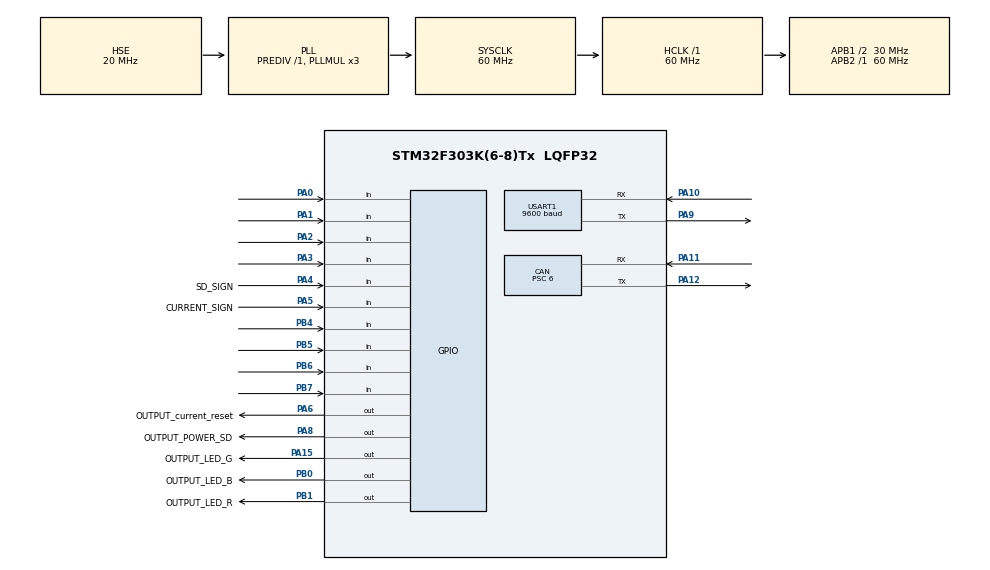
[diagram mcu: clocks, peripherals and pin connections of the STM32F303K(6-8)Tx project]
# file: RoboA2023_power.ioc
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CAN.BS1=CAN_BS1_6TQ
CAN.BS2=CAN_BS2_3TQ
CAN.CalculateBaudRate=500000
CAN.CalculateTimeBit=2000
CAN.CalculateTimeQuantum=200.0
CAN.Prescaler=6
CAN.SJW=CAN_SJW_1TQ
Mcu.Family=STM32F3
Mcu.Name=STM32F303K(6-8)Tx
Mcu.Package=LQFP32
NVIC.CAN_RX0_IRQn=true\:0\:0\:false\:false\:true\:true\:true\:true
NVIC.PriorityGroup=NVIC_PRIORITYGROUP_4
PA0.Signal=GPIO_Input
PA1.Signal=GPIO_Input
PA10.Mode=Asynchronous
PA10.Signal=USART1_RX
PA11.Mode=CAN_Activate
PA11.Signal=CAN_RX
PA12.Mode=CAN_Activate
PA12.Signal=CAN_TX
PA15.GPIO_Label=OUTPUT_LED_G
PA15.Signal=GPIO_Output
PA2.Signal=GPIO_Input
PA3.Signal=GPIO_Input
PA4.GPIO_Label=SD_SIGN
PA4.Signal=GPIO_Input
PA5.GPIO_Label=CURRENT_SIGN
PA5.Signal=GPIO_Input
PA6.GPIO_Label=OUTPUT_current_reset
PA6.Signal=GPIO_Output
PA8.GPIO_Label=OUTPUT_POWER_SD
PA8.Signal=GPIO_Output
PA9.Mode=Asynchronous
PA9.Signal=USART1_TX
PB0.GPIO_Label=OUTPUT_LED_B
PB0.Signal=GPIO_Output
PB1.GPIO_Label=OUTPUT_LED_R
PB1.Signal=GPIO_Output
PB4.Signal=GPIO_Input
PB5.Signal=GPIO_Input
PB6.Signal=GPIO_Input
PB7.Signal=GPIO_Input
PF0\ /\ OSC_IN.Mode=HSE-External-Oscillator
PF0\ /\ OSC_IN.Signal=RCC_OSC_IN
PF1\ /\ OSC_OUT.Mode=HSE-External-Oscillator
PF1\ /\ OSC_OUT.Signal=RCC_OSC_OUT
ProjectManager.HeapSize=0x200
ProjectManager.StackSize=0x400
ProjectManager.TargetToolchain=STM32CubeIDE
RCC.AHBFreq_Value=60000000
RCC.APB1CLKDivider=RCC_HCLK_DIV2
RCC.APB1Freq_Value=30000000
RCC.APB1TimFreq_Value=60000000
RCC.APB2Freq_Value=60000000
RCC.APB2TimFreq_Value=60000000
RCC.CortexFreq_Value=60000000
RCC.HCLKFreq_Value=60000000
RCC.HSE_VALUE=20000000
RCC.HSI_VALUE=8000000
RCC.PLLMUL=RCC_PLL_MUL3
RCC.PLLSourceVirtual=RCC_PLLSOURCE_HSE
RCC.SYSCLKFreq_VALUE=60000000
RCC.SYSCLKSourceVirtual=RCC_SYSCLKSOURCE_PLLCLK
USART1.BaudRate=9600
USART1.VirtualMode-Asynchronous=VM_ASYNC
board=custom

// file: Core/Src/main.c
/* USER CODE BEGIN Header */
/* USER CODE END Header */
#include "main.h"

/* USER CODE BEGIN Includes */
#include "LED.h"
#include "power_ctrl.h"
#include <stdio.h>
/* USER CODE END Includes */

/* USER CODE BEGIN PTD */

typedef void (*void_void_func)(void);
typedef float (*float_void_func)(void);
typedef uint32_t (*uint32_void_func)(void);

/* USER CODE END PTD */

/* USER CODE BEGIN PD */
#define BATT_VOLTGE_PIN GPIOA,GPIO_PIN_0
#define OUTPUT_VOLTGE_PIN GPIOA,GPIO_PIN_1
#define OUTPUT_CURRENT_PIN GPIOA,GPIO_PIN_2
#define CELL_CONFIG_PIN GPIOA,GPIO_PIN_3
#define SD_SIGN_PIN GPIOA,GPIO_PIN_4
#define CURRENT_SIGN_PIN GPIOA,GPIO_PIN_5
#define CURRENT_RESET_PIN GPIOA,GPIO_PIN_6
#define DISCHARGE_PIN GPIOA,GPIO_PIN_7
#define POWER_SD_PIN GPIOA,GPIO_PIN_8
#define LED_G_PIN GPIOA,GPIO_PIN_15
#define LED_B_PIN GPIOB,GPIO_PIN_0
#define LED_R_PIN GPIOB,GPIO_PIN_1

/* USER CODE END PD */

CAN_HandleTypeDef hcan;

UART_HandleTypeDef huart1;

/* USER CODE BEGIN PV */

void_void_func power_func[] = { POWER_OFF, POWER_ON, CURRENT_RESET }; //関数ポインタを配列に入れる。改造したいけどよくわからなかったら、switch()に改修するので教えて。
uint8_t SW_state = 0; //自基板の停止ボタンの状態を記憶する変数

//CAN受信がらみ
uint32_t id;
uint32_t dlc;
uint8_t data[8];

//ADC
uint8_t ADC_buf[4] = { 0, 0, 0, 0 }; //PA0,1,2,3

//リレーの状態
enum {
	POWER_OUTPUT_HIGH, POWER_OUTPUT_LOW
};

//自基板の停止ボタンの状態
enum {
	REMOTE_OFF, SW_OFF, ALL_ON
};
/* USER CODE END PV */

void SystemClock_Config(void);
static void MX_GPIO_Init(void);
static void MX_USART1_UART_Init(void);
static void MX_CAN_Init(void);
/* USER CODE BEGIN PFP */
uint32_t CAN_write(uint32_t StdID, uint32_t RTR, uint32_t DLC, uint8_t Data[]); //CAN送信をする関数
/* USER CODE END PFP */

int main(void)
{

  /* MCU Configuration--------------------------------------------------------*/

  /* Reset of all peripherals, Initializes the Flash interface and the Systick. */
  HAL_Init();

  /* Configure the system clock */
  SystemClock_Config();

  /* Initialize all configured peripherals */
  MX_GPIO_Init();
  MX_USART1_UART_Init();
  MX_CAN_Init();
  /* USER CODE BEGIN 2 */

	uint32_t fId1 = 0x000 << 21;
	// フィルターID1
	uint32_t fId2 = 0x001 << 21;  // フィルターID2

	CAN_FilterTypeDef filter;
	filter.FilterIdHigh = 0;            // フィルターID1の上位16ビット
	filter.FilterIdLow = 0;                  // フィルターID1の下位16ビット
	filter.FilterMaskIdHigh = 0;            // フィルターID2の上位16ビット
	filter.FilterMaskIdLow = 0;                  // フィルターID2の下位16ビット
	filter.FilterScale = CAN_FILTERSCALE_32BIT; // フィルタースケール
	filter.FilterFIFOAssignment = CAN_FILTER_FIFO0; // フィルターに割り当てるFIFO
	filter.FilterBank = 0; // フィルターバンクNo
	filter.FilterMode = CAN_FILTERMODE_IDMASK; //フィルターモード
	filter.SlaveStartFilterBank = 14; //スレーブCANの開始フィルターバンクNo
	filter.FilterActivation = ENABLE; //フィルター無効／有効
	HAL_CAN_ConfigFilter(&hcan, &filter); //設定を確定
	HAL_CAN_Start(&hcan); //CAN開始
	HAL_CAN_ActivateNotification(&hcan, CAN_IT_RX_FIFO0_MSG_PENDING); //受信割り込みを開始

	HAL_GPIO_WritePin(GPIOA, GPIO_PIN_6, SET); //過電流検知リセット
	POWER_ON();

  /* USER CODE END 2 */

  /* Infinite loop */
  /* USER CODE BEGIN WHILE */
	while (1) {

		if (HAL_GPIO_ReadPin(SD_SIGN_PIN) == 0) {        //リレーがOFFしたとき
			if (GET_GPIO_STATE(POWER_SD_PIN) == 1) { //自分の遠隔停止がONなら相手のリレーをOFFする(こちらのSWがOFFされた)
				if (SW_state != SW_OFF) {      //まだ相手に停止指令を送っていなければ送る
					uint8_t data[] = { POWER_OUTPUT_LOW };
					CAN_write(0x000, CAN_RTR_DATA, 0x1, data);
					SET_LED_R();

				}
				SW_state = SW_OFF;
			} else {        //遠隔停止がOFFなら相手の遠隔停止によって停止(何も送らずに待機)
				SW_state = REMOTE_OFF;
				SET_LED_Y();
			}
		} else {
			//リレーがONのとき
			if (SW_state != ALL_ON) {    //自分の停止SWが解除されたのとき、まだ相手にON指令を送っていなければ送る
				uint8_t data[] = { POWER_OUTPUT_HIGH };
				CAN_write(0x000, CAN_RTR_DATA, 0x1, data);
			}
			SW_state = ALL_ON;
			SET_LED_B();

		}

		/*ADCデバッグ用。消しても問題なし*/
		/*
		 char buf[] = { 0, 0, 0, 0, 0, 0, 0, 0, 0, 0, 0, 0, 0, 0, 0, 0, 0, 0, 0,
		 0 };
		 snprintf(buf, sizeof(buf), "%3d", (int) (ADC_buf[2]));
		 HAL_UART_Transmit(&huart1, (uint8_t*) buf, sizeof(buf), 1000);
		 char mozi[] = "\r\n";
		 HAL_UART_Transmit(&huart1, (uint8_t*) mozi, sizeof(mozi), 1000);
		 */

		char SW_str[20];
		if (SW_state == SW_OFF) {
			snprintf(SW_str, sizeof("SW_OFF"), "%s", "SW_OFF");
			HAL_UART_Transmit(&huart1, (uint8_t*) SW_str, sizeof("SW_OFF"),
					100);
		} else if (SW_state == REMOTE_OFF) {
			snprintf(SW_str, sizeof("REMOTE_OFF"), "%s", "REMOTE_OFF");
			HAL_UART_Transmit(&huart1, (uint8_t*) SW_str, sizeof("REMOTE_OFF"),
					100);
		} else if (SW_state == ALL_ON) {
			snprintf(SW_str, sizeof("ALL_ON") + 1, "%s", "ALL_ON");
			HAL_UART_Transmit(&huart1, (uint8_t*) SW_str, sizeof("ALL_ON"),
					100);
		}
		char mozi[] = "\r\n";
		HAL_UART_Transmit(&huart1, (uint8_t*) mozi, sizeof(mozi), 1000);

    /* USER CODE END WHILE */

	}
}

void SystemClock_Config(void)
{
  RCC_OscInitTypeDef RCC_OscInitStruct = {0};
  RCC_ClkInitTypeDef RCC_ClkInitStruct = {0};
  RCC_PeriphCLKInitTypeDef PeriphClkInit = {0};

  /** Initializes the RCC Oscillators according to the specified parameters
  * in the RCC_OscInitTypeDef structure.
  */
  RCC_OscInitStruct.OscillatorType = RCC_OSCILLATORTYPE_HSE;
  RCC_OscInitStruct.HSEState = RCC_HSE_ON;
  RCC_OscInitStruct.HSEPredivValue = RCC_HSE_PREDIV_DIV1;
  RCC_OscInitStruct.HSIState = RCC_HSI_ON;
  RCC_OscInitStruct.PLL.PLLState = RCC_PLL_ON;
  RCC_OscInitStruct.PLL.PLLSource = RCC_PLLSOURCE_HSE;
  RCC_OscInitStruct.PLL.PLLMUL = RCC_PLL_MUL3;
  if (HAL_RCC_OscConfig(&RCC_OscInitStruct) != HAL_OK)
  {
    Error_Handler();
  }

  /** Initializes the CPU, AHB and APB buses clocks
  */
  RCC_ClkInitStruct.ClockType = RCC_CLOCKTYPE_HCLK|RCC_CLOCKTYPE_SYSCLK
                              |RCC_CLOCKTYPE_PCLK1|RCC_CLOCKTYPE_PCLK2;
  RCC_ClkInitStruct.SYSCLKSource = RCC_SYSCLKSOURCE_PLLCLK;
  RCC_ClkInitStruct.AHBCLKDivider = RCC_SYSCLK_DIV1;
  RCC_ClkInitStruct.APB1CLKDivider = RCC_HCLK_DIV2;
  RCC_ClkInitStruct.APB2CLKDivider = RCC_HCLK_DIV1;

  if (HAL_RCC_ClockConfig(&RCC_ClkInitStruct, FLASH_LATENCY_2) != HAL_OK)
  {
    Error_Handler();
  }
  PeriphClkInit.PeriphClockSelection = RCC_PERIPHCLK_USART1;
  PeriphClkInit.Usart1ClockSelection = RCC_USART1CLKSOURCE_PCLK1;
  if (HAL_RCCEx_PeriphCLKConfig(&PeriphClkInit) != HAL_OK)
  {
    Error_Handler();
  }
}

static void MX_CAN_Init(void)
{

  hcan.Instance = CAN;
  hcan.Init.Prescaler = 6;
  hcan.Init.Mode = CAN_MODE_NORMAL;
  hcan.Init.SyncJumpWidth = CAN_SJW_1TQ;
  hcan.Init.TimeSeg1 = CAN_BS1_6TQ;
  hcan.Init.TimeSeg2 = CAN_BS2_3TQ;
  hcan.Init.TimeTriggeredMode = DISABLE;
  hcan.Init.AutoBusOff = DISABLE;
  hcan.Init.AutoWakeUp = DISABLE;
  hcan.Init.AutoRetransmission = DISABLE;
  hcan.Init.ReceiveFifoLocked = DISABLE;
  hcan.Init.TransmitFifoPriority = DISABLE;
  if (HAL_CAN_Init(&hcan) != HAL_OK)
  {
    Error_Handler();
  }

}

static void MX_USART1_UART_Init(void)
{

  huart1.Instance = USART1;
  huart1.Init.BaudRate = 9600;
  huart1.Init.WordLength = UART_WORDLENGTH_8B;
  huart1.Init.StopBits = UART_STOPBITS_1;
  huart1.Init.Parity = UART_PARITY_NONE;
  huart1.Init.Mode = UART_MODE_TX_RX;
  huart1.Init.HwFlowCtl = UART_HWCONTROL_NONE;
  huart1.Init.OverSampling = UART_OVERSAMPLING_16;
  huart1.Init.OneBitSampling = UART_ONE_BIT_SAMPLE_DISABLE;
  huart1.AdvancedInit.AdvFeatureInit = UART_ADVFEATURE_NO_INIT;
  if (HAL_UART_Init(&huart1) != HAL_OK)
  {
    Error_Handler();
  }

}

static void MX_GPIO_Init(void)
{
  GPIO_InitTypeDef GPIO_InitStruct = {0};

  /* GPIO Ports Clock Enable */
  __HAL_RCC_GPIOF_CLK_ENABLE();
  __HAL_RCC_GPIOA_CLK_ENABLE();
  __HAL_RCC_GPIOB_CLK_ENABLE();

  /*Configure GPIO pin Output Level */
  HAL_GPIO_WritePin(GPIOA, OUTPUT_current_reset_Pin|OUTPUT_POWER_SD_Pin|OUTPUT_LED_G_Pin, GPIO_PIN_RESET);

  /*Configure GPIO pin Output Level */
  HAL_GPIO_WritePin(GPIOB, OUTPUT_LED_B_Pin|OUTPUT_LED_R_Pin, GPIO_PIN_RESET);

  /*Configure GPIO pins : PA0 PA1 PA2 PA3
                           SD_SIGN_Pin CURRENT_SIGN_Pin */
  GPIO_InitStruct.Pin = GPIO_PIN_0|GPIO_PIN_1|GPIO_PIN_2|GPIO_PIN_3
                          |SD_SIGN_Pin|CURRENT_SIGN_Pin;
  GPIO_InitStruct.Mode = GPIO_MODE_INPUT;
  GPIO_InitStruct.Pull = GPIO_NOPULL;
  HAL_GPIO_Init(GPIOA, &GPIO_InitStruct);

  /*Configure GPIO pins : OUTPUT_current_reset_Pin OUTPUT_POWER_SD_Pin OUTPUT_LED_G_Pin */
  GPIO_InitStruct.Pin = OUTPUT_current_reset_Pin|OUTPUT_POWER_SD_Pin|OUTPUT_LED_G_Pin;
  GPIO_InitStruct.Mode = GPIO_MODE_OUTPUT_PP;
  GPIO_InitStruct.Pull = GPIO_NOPULL;
  GPIO_InitStruct.Speed = GPIO_SPEED_FREQ_LOW;
  HAL_GPIO_Init(GPIOA, &GPIO_InitStruct);

  /*Configure GPIO pins : OUTPUT_LED_B_Pin OUTPUT_LED_R_Pin */
  GPIO_InitStruct.Pin = OUTPUT_LED_B_Pin|OUTPUT_LED_R_Pin;
  GPIO_InitStruct.Mode = GPIO_MODE_OUTPUT_PP;
  GPIO_InitStruct.Pull = GPIO_NOPULL;
  GPIO_InitStruct.Speed = GPIO_SPEED_FREQ_LOW;
  HAL_GPIO_Init(GPIOB, &GPIO_InitStruct);

  /*Configure GPIO pins : PB4 PB5 PB6 PB7 */
  GPIO_InitStruct.Pin = GPIO_PIN_4|GPIO_PIN_5|GPIO_PIN_6|GPIO_PIN_7;
  GPIO_InitStruct.Mode = GPIO_MODE_INPUT;
  GPIO_InitStruct.Pull = GPIO_NOPULL;
  HAL_GPIO_Init(GPIOB, &GPIO_InitStruct);

}

/* USER CODE BEGIN 4 */
//CAN送信
//CAN送信
uint32_t CAN_write(uint32_t StdID, uint32_t RTR, uint32_t DLC, uint8_t Data[]) {
	if (HAL_CAN_GetTxMailboxesFreeLevel(&hcan) > 0) {
		CAN_TxHeaderTypeDef TxHeader; //CANのデータを突っ込む構造体
		uint32_t TxMalibox; //送信に使用したメールボックスの番号を突っ込む

		//IDを設定
		//範囲0x0000~0x7ff
		TxHeader.StdId = StdID;

		//フレームの種類を設定
		//データフレーム:CAN_RTR_DATA
		//リモートフレーム:CAN_RTR_REMOTE
		TxHeader.RTR = RTR;

		//標準IDor拡張ID
		//標準ID:CAN_ID_STD
		//拡張ID:CAN_ID_EXT
		TxHeader.IDE = CAN_ID_STD;

		//送信したデータ長
		//範囲0x0~0x8
		TxHeader.DLC = DLC;

		//タイムスタンプを送るかどうかの設定
		//無効でよいかと
		TxHeader.TransmitGlobalTime = DISABLE;

		//送信
		HAL_CAN_AddTxMessage(&hcan, &TxHeader, Data, &TxMalibox);

		return TxMalibox;
	} else {
		return 4;
	}
}

//CAN受信割り込み
void HAL_CAN_RxFifo0MsgPendingCallback(CAN_HandleTypeDef *hcan) {
	CAN_RxHeaderTypeDef RxHeader;
	uint8_t RxData[8];		//データを入れる配列

	if (HAL_CAN_GetRxMessage(hcan, CAN_RX_FIFO0, &RxHeader, RxData) == HAL_OK) {//受信
		id = (RxHeader.IDE == CAN_ID_STD) ? RxHeader.StdId : RxHeader.ExtId; // IDをコピー
		dlc = RxHeader.DLC; // DLC
		/*ここに処理を書く*/
		power_func[RxData[0]](); //配列に入れた関数ポインタを通じて関数が呼び出される

	}
}

/* USER CODE END 4 */

void Error_Handler(void)
{
  /* USER CODE BEGIN Error_Handler_Debug */
	SET_LED_W();
  /* USER CODE END Error_Handler_Debug */
}
